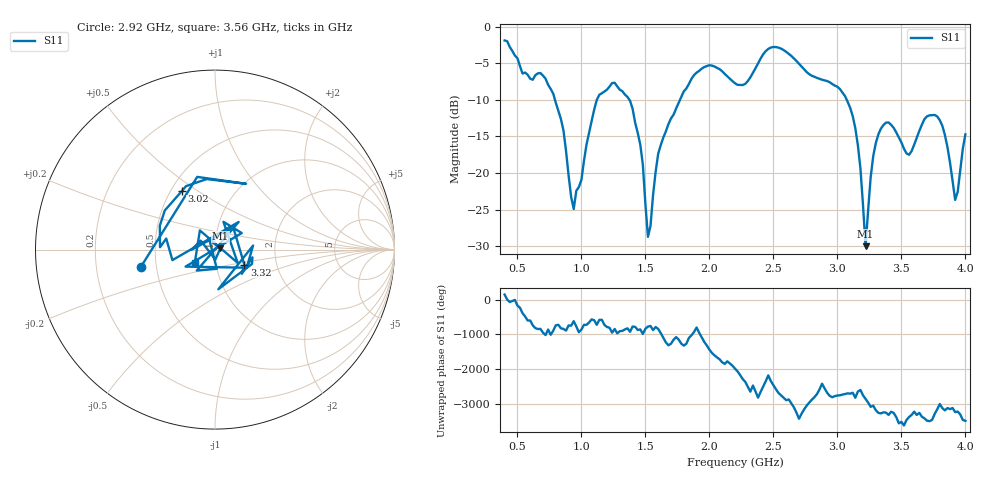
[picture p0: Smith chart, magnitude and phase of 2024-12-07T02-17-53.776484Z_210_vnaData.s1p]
!Created with skrf (http://scikit-rf.org).
# Hz S RI R 50.0
!freq ReS11 ImS11
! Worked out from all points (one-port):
!   181 points, 400 MHz to 4 GHz, reference 50 ohm
!   lowest |S11| = -30.0 dB at 3.22 GHz (marker M1), VSWR 1.07, Z = 53.1 + j0.884 ohm
!   |S11| at or under -10 dB: 793.6 MHz to 1.12 GHz (326.7 MHz wide, 34.1 % of centre); 1.375 GHz to 1.77 GHz (394.5 MHz wide, 25.1 % of centre); 3.073 GHz to end of sweep
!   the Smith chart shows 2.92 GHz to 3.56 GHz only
!   S11 on the Smith chart (normalised r, x): 2.92 GHz: 0.41, -0.10; 3.02 GHz: 0.57, +0.43; 3.32 GHz: 1.37, -0.24; 3.56 GHz: 0.79, -0.12
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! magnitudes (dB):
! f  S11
! 400 MHz  -1.9
! 720 MHz  -7.1
! 860 MHz  -14.2
! 940 MHz  -24.9
! 1.12 GHz  -10.0
! 1.3 GHz  -8.6
! 1.38 GHz  -10.1
! 1.46 GHz  -16.1
! 1.52 GHz  -28.7
! 1.6 GHz  -17.3
! 1.76 GHz  -10.4
! 1.98 GHz  -5.4
! 2.2 GHz  -7.7
! 2.48 GHz  -2.9
! 2.66 GHz  -4.3
! 2.92 GHz  -7.4
! 3.02 GHz  -8.5
! 3.1 GHz  -11.1
! 3.16 GHz  -16.2
! 3.22 GHz  -30.0
! 3.26 GHz  -20.6
! 3.32 GHz  -14.7
! 3.4 GHz  -13.1
! 3.56 GHz  -17.5
! 3.78 GHz  -12.3
! 3.84 GHz  -14.8
! 3.92 GHz  -23.7
! 4 GHz  -14.7
